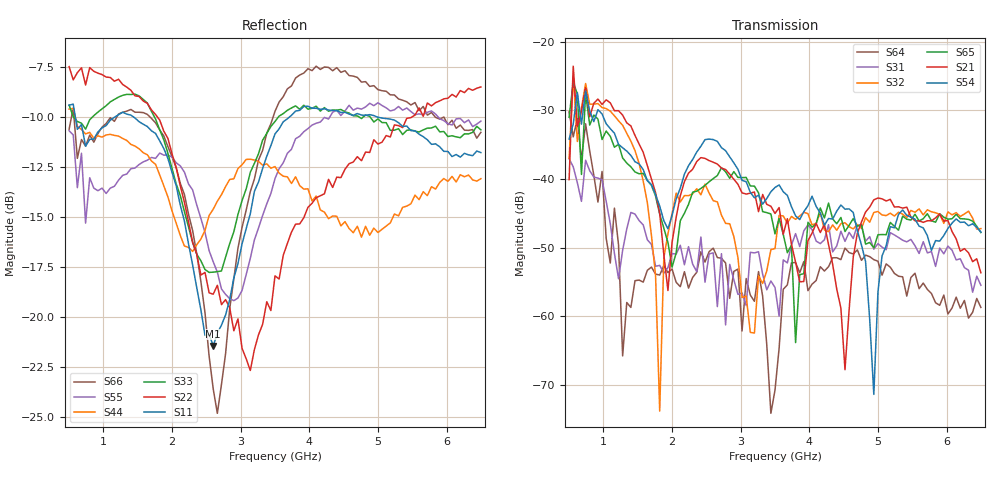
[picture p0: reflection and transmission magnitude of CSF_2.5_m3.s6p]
!Keysight Technologies,M9804A,MY58100912,A.14.10.03
!Date: Thursday, April 27, 2023 10:28:33
!Correction: S11(C  6-Port  )
!S12(C  6-Port  )
!S13(C  6-Port  )
!S14(C  6-Port  )
!S15(C  6-Port  )
!S16(C  6-Port  )
!S21(C  6-Port  )
!S22(C  6-Port  )
!S23(C  6-Port  )
!S24(C  6-Port  )
!S25(C  6-Port  )
!S26(C  6-Port  )
!S31(C  6-Port  )
!S32(C  6-Port  )
!S33(C  6-Port  )
!S34(C  6-Port  )
!S35(C  6-Port  )
!S36(C  6-Port  )
!S41(C  6-Port  )
!S42(C  6-Port  )
!S43(C  6-Port  )
!S44(C  6-Port  )
!S45(C  6-Port  )
!S46(C  6-Port  )
!S51(C  6-Port  )
!S52(C  6-Port  )
!S53(C  6-Port  )
!S54(C  6-Port  )
!S55(C  6-Port  )
!S56(C  6-Port  )
!S61(C  6-Port  )
!S62(C  6-Port  )
!S63(C  6-Port  )
!S64(C  6-Port  )
!S65(C  6-Port  )
!S66(C  6-Port  )
!S6P File: Measurement: :
# Hz S  RI  R 50
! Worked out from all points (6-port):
!   101 points, 500 MHz to 6.5 GHz, reference 50 ohm
!   strongest paths, dB at 500 MHz, 2 GHz, 3.5 GHz, 5 GHz, 6.5 GHz:
!     S54: -34.2, -45.3, -41.2, -56.5, -47.7
!     S21: -40.1, -49.2, -45.0, -42.8, -53.7
!     S65: -31.0, -52.9, -48.0, -48.1, -47.8
!     S32: -37.0, -45.1, -50.2, -44.7, -47.2
!     S31: -37.1, -50.9, -55.8, -49.4, -55.5
!     S64: -30.2, -53.1, -70.8, -52.0, -58.7
!   lowest |S11| = -21.4 dB at 2.6 GHz (marker M1), VSWR 1.19, Z = 42.5 + j2.19 ohm
!   |S11| at or under -10 dB: 589.9 MHz to 1.175 GHz (584.8 MHz wide, 66.3 % of centre); 1.432 GHz to 3.717 GHz (2.285 GHz wide, 88.7 % of centre); 4.979 GHz to end of sweep
